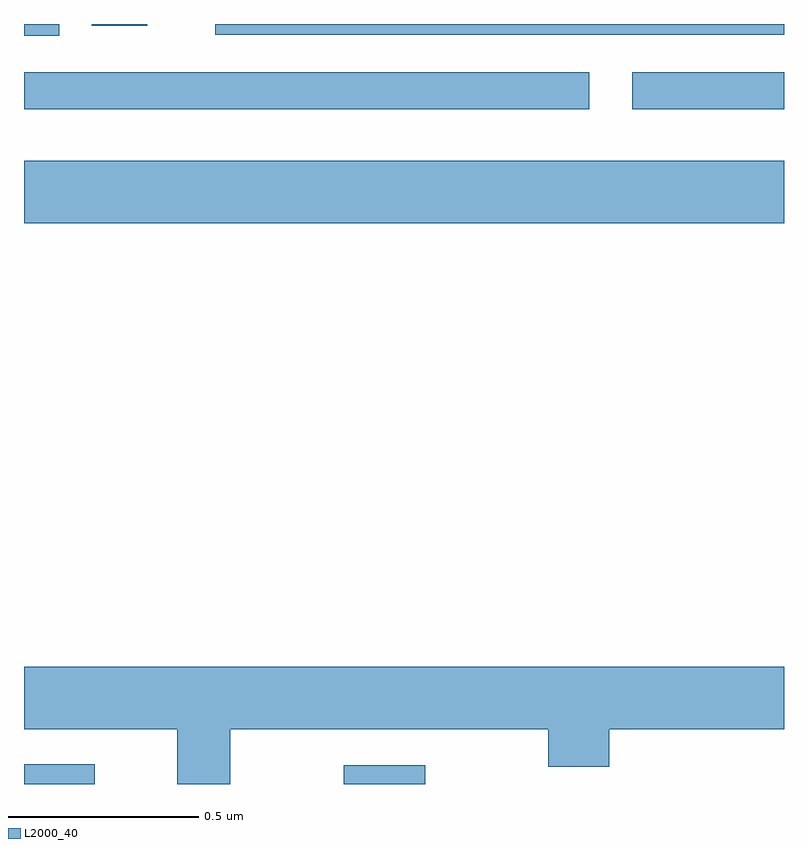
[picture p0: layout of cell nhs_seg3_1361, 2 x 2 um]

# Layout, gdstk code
import gdstk
lib = gdstk.Library(unit=1e-6, precision=1e-09)
def R(c, l, rs):  # rectangles x0, y0, x1, y1
    for r in rs: c.add(gdstk.rectangle(r[:2], r[2:], *l))
def P(c, l, *ps):  # polygons
    for p in ps: c.add(gdstk.Polygon(p, *l))
L2000_40 = (2000, 40)

nhs_seg3_1361 = lib.new_cell('nhs_seg3_1361')
R(nhs_seg3_1361, L2000_40, [(127,739.4,127.186,739.452), (127.841,739.4,128.056,739.449), (127,740.876,129,741.04), (127,741.176,128.488,741.273), (128.601,741.176,129,741.273), (127,741.369,127.093,741.4), (127.503,741.372,129,741.4), (127.178,741.396,127.324,741.4)])
P(nhs_seg3_1361, L2000_40, [(127.543,739.544),(128.38,739.544),(128.38,739.445),(128.54,739.445),(128.54,739.544),(129,739.544),(129,739.708),(127,739.708),(127,739.544),(127.403,739.544),(127.403,739.4),(127.543,739.4)])

lib.write_gds('nhs_seg3_1361.gds')
